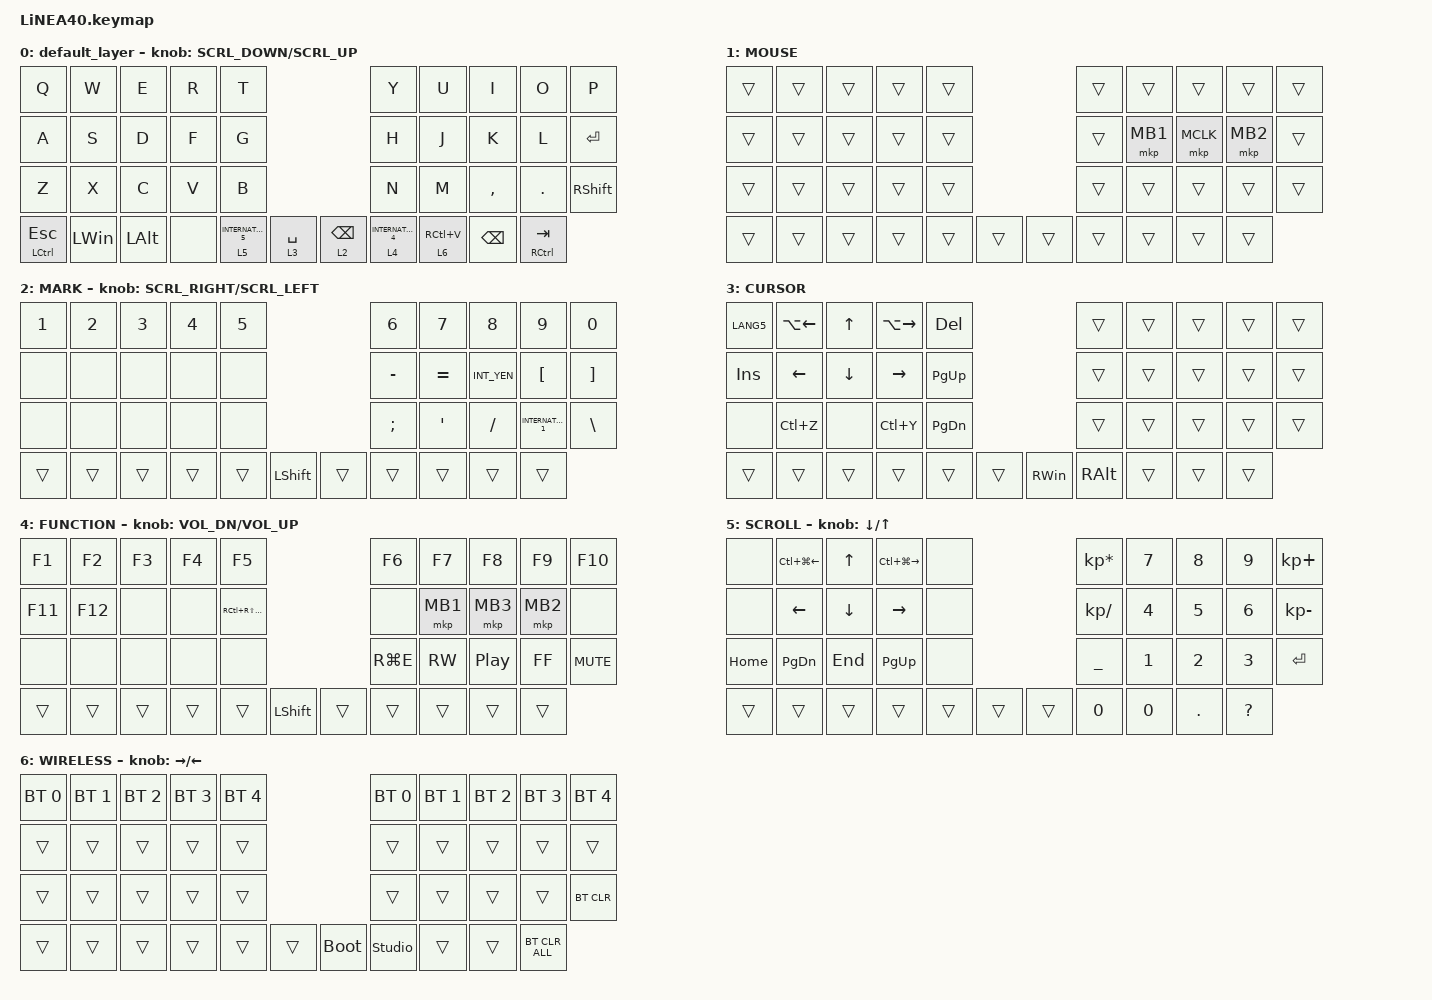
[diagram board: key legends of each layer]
#define ZMK_POINTING_DEFAULT_SCRL_VAL 150

#include <dt-bindings/zmk/input_transform.h>
#include <input/processors.dtsi>
#include <zephyr/dt-bindings/input/input-event-codes.h>
#include <behaviors.dtsi>
#include <dt-bindings/zmk/bt.h>
#include <dt-bindings/zmk/keys.h>
#include <dt-bindings/zmk/pointing.h>

#define MOUSE 1
#define MARK 2
#define CURSOR 3
#define FUNCTION 4
#define SCROLL 5
#define WIRELESS 6

//mouse cursol

&mmv {
    delay-ms = <20>;
    trigger-period-ms = <5>;
    time-to-max-speed-ms = <100>;
    acceleration-exponent = <2>;
};

//mouse scroll

&msc {
    delay-ms = <3>;
    trigger-period-ms = <3>;
    time-to-max-speed-ms = <100>;
    acceleration-exponent = <0>;
};

/ {
    input_processors {
        zip_wheel_scaler: zip_wheel_scaler {
            compatible = "zmk,input-processor-scaler";
            #input-processor-cells = <2>;
            type = <INPUT_EV_REL>;
            codes = <INPUT_REL_WHEEL>;
            track-remainders;
        };
    };
};

&msc_input_listener {
    speed_up {
        layers = <FUNCTION>;
        input-processors = <&zip_wheel_scaler 3 1>; //スクロールを3倍速にする
    };
};

&trackball_listener {
    scroller {
        layers = <SCROLL>;
        input-processors =
            <&zip_xy_transform INPUT_TRANSFORM_Y_INVERT>,
            //スクロール方向を逆転,,,,,,,,,,,,,,,,
            <&zip_xy_to_scroll_mapper>;
    };
};

/ {
    combos {
        compatible = "zmk,combos";

        CenterClick {
            bindings = <&mkp MB3>;
            key-positions = <17 37>;
        };

        RightClick {
            bindings = <&mkp MB2>;
            key-positions = <37 18>;
        };

        LeftClick {
            bindings = <&mkp MB1>;
            key-positions = <37 16>;
        };
    };

    behaviors {
        re_kp: sensor_rotate_kp {
            compatible = "zmk,behavior-sensor-rotate-var";
            #sensor-binding-cells = <2>;
            bindings = <&kp>, <&kp>;
        };

        mouse_scrl: mouse_wheel_scrl {
            compatible = "zmk,behavior-sensor-rotate-var";
            #sensor-binding-cells = <2>;
            bindings = <&msc>, <&msc>;

            tap-ms = <20>;
        };
    };

    keymap {
        compatible = "zmk,keymap";

        default_layer {
            bindings = <
&kp Q          &kp W         &kp E         &kp R  &kp T                                                  &kp Y                  &kp U  &kp I        &kp O          &kp P
&kp A          &kp S         &kp D         &kp F  &kp G                                                  &kp H                  &kp J  &kp K        &kp L          &kp ENTER
&kp Z          &kp X         &kp C         &kp V  &kp B                                                  &kp N                  &kp M  &kp COMMA    &kp DOT        &kp RIGHT_SHIFT
&mt LCTRL ESC  &kp LEFT_WIN  &kp LEFT_ALT  &none  &lt 5 INTERNATIONAL_5  &lt 3 SPACE    &lt 2 BACKSPACE  &lt 4 INTERNATIONAL_4         &lt 6 RC(V)  &kp BACKSPACE  &mt RCTRL TAB
            >;

            sensor-bindings = <&mouse_scrl SCRL_DOWN SCRL_UP>;
        };

        //1

        MOUSE {
            bindings = <
&trans  &trans  &trans  &trans  &trans                    &trans  &trans    &trans     &trans    &trans
&trans  &trans  &trans  &trans  &trans                    &trans  &mkp MB1  &mkp MCLK  &mkp MB2  &trans
&trans  &trans  &trans  &trans  &trans                    &trans  &trans    &trans     &trans    &trans
&trans  &trans  &trans  &trans  &trans  &trans    &trans  &trans            &trans     &trans    &trans
            >;
        };

        //2

        MARK {
            bindings = <
&kp NUMBER_1  &kp NUMBER_2  &kp NUMBER_3  &kp NUMBER_4  &kp NUMBER_5                            &kp NUMBER_6  &kp NUMBER_7  &kp NUMBER_8  &kp NUMBER_9         &kp NUMBER_0
&none         &none         &none         &none         &none                                   &kp MINUS     &kp EQUAL     &kp INT_YEN   &kp LEFT_BRACKET     &kp RIGHT_BRACKET
&none         &none         &none         &none         &none                                   &kp SEMI      &kp SQT       &kp SLASH     &kp INTERNATIONAL_1  &kp BACKSLASH
&trans        &trans        &trans        &trans        &trans        &kp LEFT_SHIFT    &trans  &trans                      &trans        &trans               &trans
            >;

            sensor-bindings = <&mouse_scrl SCRL_RIGHT SCRL_LEFT>;
        };

        //3

        CURSOR {
            bindings = <
&kp LANG5  &kp LA(LEFT_ARROW)  &kp UP_ARROW    &kp LA(RIGHT_ARROW)  &kp DELETE                              &trans         &trans  &trans  &trans  &trans
&kp INS    &kp LEFT_ARROW      &kp DOWN_ARROW  &kp RIGHT_ARROW      &kp PG_UP                               &trans         &trans  &trans  &trans  &trans
&none      &kp LC(Z)           &none           &kp LC(Y)            &kp PAGE_DOWN                           &trans         &trans  &trans  &trans  &trans
&trans     &trans              &trans          &trans               &trans         &trans    &kp RIGHT_WIN  &kp RIGHT_ALT          &trans  &trans  &trans
            >;
        };

        //4

        FUNCTION {
            bindings = <
&kp F1   &kp F2   &kp F3  &kp F4  &kp F5                                        &kp F6     &kp F7    &kp F8    &kp F9    &kp F10
&kp F11  &kp F12  &none   &none   &kp RC(RS(ESCAPE))                            &none      &mkp MB1  &mkp MB3  &mkp MB2  &none
&none    &none    &none   &none   &none                                         &kp RG(E)  &kp C_RW  &kp C_PP  &kp C_FF  &kp C_MUTE
&trans   &trans   &trans  &trans  &trans              &kp LEFT_SHIFT    &trans  &trans               &trans    &trans    &trans
            >;

            sensor-bindings = <&inc_dec_kp C_VOL_DN C_VOL_UP>;
        };

        //5

        SCROLL {
            bindings = <
&none     &kp LC(LG(LEFT_ARROW))  &kp UP_ARROW  &kp LC(LG(RIGHT_ARROW))  &none                     &kp KP_MULTIPLY  &kp NUMBER_7  &kp NUMBER_8  &kp NUMBER_9  &kp KP_PLUS
&none     &kp LEFT_ARROW          &kp DOWN      &kp RIGHT_ARROW          &none                     &kp KP_SLASH     &kp NUMBER_4  &kp NUMBER_5  &kp NUMBER_6  &kp KP_MINUS
&kp HOME  &kp PAGE_DOWN           &kp END       &kp PAGE_UP              &none                     &kp UNDER        &kp NUMBER_1  &kp NUMBER_2  &kp NUMBER_3  &kp ENTER
&trans    &trans                  &trans        &trans                   &trans  &trans    &trans  &kp NUMBER_0                   &kp NUMBER_0  &kp DOT       &kp QUESTION
            >;

            sensor-bindings = <&inc_dec_kp DOWN_ARROW UP_ARROW>;
        };

        //6

        WIRELESS {
            bindings = <
&bt BT_SEL 0  &bt BT_SEL 1  &bt BT_SEL 2  &bt BT_SEL 3  &bt BT_SEL 4                         &bt BT_SEL 0    &bt BT_SEL 1  &bt BT_SEL 2  &bt BT_SEL 3  &bt BT_SEL 4
&trans        &trans        &trans        &trans        &trans                               &trans          &trans        &trans        &trans        &trans
&trans        &trans        &trans        &trans        &trans                               &trans          &trans        &trans        &trans        &bt BT_CLR
&trans        &trans        &trans        &trans        &trans        &trans    &bootloader  &studio_unlock                &trans        &trans        &bt BT_CLR_ALL
            >;

            sensor-bindings = <&inc_dec_kp RIGHT_ARROW LEFT_ARROW>;
        };
    };
};
